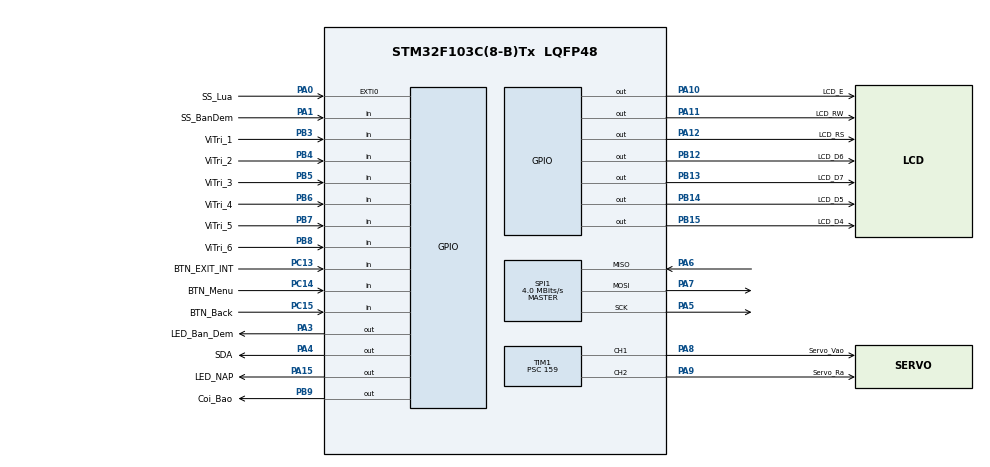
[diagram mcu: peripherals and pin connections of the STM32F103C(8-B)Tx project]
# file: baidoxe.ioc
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Mcu.Family=STM32F1
Mcu.Name=STM32F103C(8-B)Tx
Mcu.Package=LQFP48
NVIC.EXTI0_IRQn=true\:1\:0\:true\:false\:true\:true\:true\:true
NVIC.PriorityGroup=NVIC_PRIORITYGROUP_4
PA0-WKUP.GPIO_Label=SS_Lua
PA0-WKUP.GPIO_ModeDefaultEXTI=GPIO_MODE_IT_FALLING
PA0-WKUP.GPIO_PuPd=GPIO_NOPULL
PA0-WKUP.Signal=GPXTI0
PA1.GPIO_Label=SS_BanDem
PA1.Signal=GPIO_Input
PA10.GPIO_Label=LCD_E
PA10.Signal=GPIO_Output
PA11.GPIO_Label=LCD_RW
PA11.Signal=GPIO_Output
PA12.GPIO_Label=LCD_RS
PA12.Signal=GPIO_Output
PA13.Mode=Serial_Wire
PA13.Signal=SYS_JTMS-SWDIO
PA14.Mode=Serial_Wire
PA14.Signal=SYS_JTCK-SWCLK
PA15.GPIO_Label=LED_NAP
PA15.Signal=GPIO_Output
PA3.GPIO_Label=LED_Ban_Dem
PA3.Signal=GPIO_Output
PA4.GPIO_Label=SDA
PA4.Signal=GPIO_Output
PA5.Mode=Full_Duplex_Master
PA5.Signal=SPI1_SCK
PA6.Mode=Full_Duplex_Master
PA6.Signal=SPI1_MISO
PA7.Mode=Full_Duplex_Master
PA7.Signal=SPI1_MOSI
PA8.GPIO_Label=Servo_Vao
PA8.Signal=S_TIM1_CH1
PA9.GPIO_Label=Servo_Ra
PA9.Signal=S_TIM1_CH2
PB12.GPIO_Label=LCD_D6
PB12.Signal=GPIO_Output
PB13.GPIO_Label=LCD_D7
PB13.Signal=GPIO_Output
PB14.GPIO_Label=LCD_D5
PB14.Signal=GPIO_Output
PB15.GPIO_Label=LCD_D4
PB15.Signal=GPIO_Output
PB3.GPIO_Label=ViTri_1
PB3.Signal=GPIO_Input
PB4.GPIO_Label=ViTri_2
PB4.Signal=GPIO_Input
PB5.GPIO_Label=ViTri_3
PB5.Signal=GPIO_Input
PB6.GPIO_Label=ViTri_4
PB6.Signal=GPIO_Input
PB7.GPIO_Label=ViTri_5
PB7.Signal=GPIO_Input
PB8.GPIO_Label=ViTri_6
PB8.Signal=GPIO_Input
PB9.GPIO_Label=Coi_Bao
PB9.Signal=GPIO_Output
PC13-TAMPER-RTC.GPIO_Label=BTN_EXIT_INT
PC13-TAMPER-RTC.Signal=GPIO_Input
PC14-OSC32_IN.GPIO_Label=BTN_Menu
PC14-OSC32_IN.Signal=GPIO_Input
PC15-OSC32_OUT.GPIO_Label=BTN_Back
PC15-OSC32_OUT.Signal=GPIO_Input
PD0-OSC_IN.Mode=HSE-External-Oscillator
PD0-OSC_IN.Signal=RCC_OSC_IN
PD1-OSC_OUT.Mode=HSE-External-Oscillator
PD1-OSC_OUT.Signal=RCC_OSC_OUT
ProjectManager.HeapSize=0x200
ProjectManager.StackSize=0x400
ProjectManager.TargetToolchain=MDK-ARM V5.32
RCC.APB1Freq_Value=8000000
RCC.APB2Freq_Value=8000000
SH.S_TIM1_CH1.0=TIM1_CH1,PWM Generation1 CH1
SH.S_TIM1_CH2.0=TIM1_CH2,PWM Generation2 CH2
SPI1.CalculateBaudRate=4.0 MBits/s
SPI1.Direction=SPI_DIRECTION_2LINES
SPI1.Mode=SPI_MODE_MASTER
SPI1.VirtualType=VM_MASTER
TIM1.Channel-PWM\ Generation1\ CH1=TIM_CHANNEL_1
TIM1.Channel-PWM\ Generation2\ CH2=TIM_CHANNEL_2
TIM1.Period=999
TIM1.Prescaler=159
VP_TIM1_VS_ClockSourceINT.Mode=Internal
board=custom

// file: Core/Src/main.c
/* USER CODE BEGIN Header */
/**
  ******************************************************************************
  * @file           : main.c
  * @brief          : Main program body
  ******************************************************************************
  * @attention
  *
  * Copyright (c) 2024 STMicroelectronics.
  * All rights reserved.
  *
  * This software is licensed under terms that can be found in the LICENSE file
  * in the root directory of this software component.
  * If no LICENSE file comes with this software, it is provided AS-IS.
  *
  ******************************************************************************
  */
/* USER CODE END Header */
#include "main.h"

/* USER CODE BEGIN Includes */
#include "stdio.h"
#include "math.h"
#include "rc522.h"
#include "string.h"
#include "flash.h"

#define BLOCK_ADDR 0x04
#define MAX_VITRI 6
/* USER CODE END Includes */

SPI_HandleTypeDef hspi1;

TIM_HandleTypeDef htim1;

void SystemClock_Config(void);
static void MX_GPIO_Init(void);
static void MX_SPI1_Init(void);
static void MX_TIM1_Init(void);

/* USER CODE BEGIN 0 */

void Lcd_Cauhinh(void);
void Lcd_Ghi_Lenh(char lenh);
void Lcd_Ghi_Dulieu(char data);
void Lcd_Ghi_Lenh (char malenh);
void Lcd_Ghi_chuoi (char *str);

void Lcd_Ghi_Lenh (char malenh)
{
 HAL_GPIO_WritePin(GPIOA,GPIO_PIN_11,GPIO_PIN_RESET);
 HAL_GPIO_WritePin(GPIOA,GPIO_PIN_12,GPIO_PIN_RESET);

 HAL_GPIO_WritePin(GPIOA,GPIO_PIN_10,GPIO_PIN_SET);
 HAL_GPIO_WritePin(GPIOB,GPIO_PIN_15, (malenh>>4)&0x01);
 HAL_GPIO_WritePin(GPIOB,GPIO_PIN_14, (malenh>>5)&0x01);
 HAL_GPIO_WritePin(GPIOB,GPIO_PIN_12, (malenh>>6)&0x01);
 HAL_GPIO_WritePin(GPIOB,GPIO_PIN_13, (malenh>>7)&0x01);
 HAL_GPIO_WritePin(GPIOA,GPIO_PIN_10,GPIO_PIN_RESET);
 HAL_Delay(5);

 HAL_GPIO_WritePin(GPIOA,GPIO_PIN_10,GPIO_PIN_SET);
 HAL_GPIO_WritePin(GPIOB,GPIO_PIN_15, (malenh&0x01));
 HAL_GPIO_WritePin(GPIOB,GPIO_PIN_14, (malenh>>1)&0x01);
 HAL_GPIO_WritePin(GPIOB,GPIO_PIN_12, (malenh>>2)&0x01);
 HAL_GPIO_WritePin(GPIOB,GPIO_PIN_13, (malenh>>3)&0x01);
 HAL_GPIO_WritePin(GPIOA,GPIO_PIN_10,GPIO_PIN_RESET);
 HAL_Delay(5);
}

void Lcd_Ghi_Dulieu (char dulieu)
{
 HAL_GPIO_WritePin(GPIOA,GPIO_PIN_11,GPIO_PIN_RESET);
 HAL_GPIO_WritePin(GPIOA,GPIO_PIN_12,GPIO_PIN_SET);

 HAL_GPIO_WritePin(GPIOA,GPIO_PIN_10,GPIO_PIN_SET);
 HAL_GPIO_WritePin(GPIOB,GPIO_PIN_15, (dulieu>>4)&0x01);
 HAL_GPIO_WritePin(GPIOB,GPIO_PIN_14, (dulieu>>5)&0x01);
 HAL_GPIO_WritePin(GPIOB,GPIO_PIN_12, (dulieu>>6)&0x01);
 HAL_GPIO_WritePin(GPIOB,GPIO_PIN_13, (dulieu>>7)&0x01);
 HAL_GPIO_WritePin(GPIOA,GPIO_PIN_10,GPIO_PIN_RESET);
 HAL_Delay(5);

 HAL_GPIO_WritePin(GPIOA,GPIO_PIN_10,GPIO_PIN_SET);
 HAL_GPIO_WritePin(GPIOB,GPIO_PIN_15, (dulieu&0x01));
 HAL_GPIO_WritePin(GPIOB,GPIO_PIN_14, (dulieu>>1)&0x01);
 HAL_GPIO_WritePin(GPIOB,GPIO_PIN_12, (dulieu>>2)&0x01);
 HAL_GPIO_WritePin(GPIOB,GPIO_PIN_13, (dulieu>>3)&0x01);
 HAL_GPIO_WritePin(GPIOA,GPIO_PIN_10,GPIO_PIN_RESET);
 HAL_Delay(5);
}

void Lcd_Ghi_chuoi (char *str)
{
 while(*str)
 {
 Lcd_Ghi_Dulieu(*str);
 str++;
 }
}

void Lcd_Cauhinh (void)
{
 Lcd_Ghi_Lenh(0x03);
 Lcd_Ghi_Lenh(0x02);
 Lcd_Ghi_Lenh(0x28);
 Lcd_Ghi_Lenh(0x06);
 Lcd_Ghi_Lenh(0x0c);
 Lcd_Ghi_Lenh(0x01);
}

int i = 0;
uint8_t strID[4];
uint8_t checkMasterID[4];
uint8_t checkSlaveID[4];
uint8_t IDmaster[4] = {0xD3, 0x5C, 0xC2, 0x36};
int countvitri = MAX_VITRI;

/*#pragma pack(1)
typedef struct{
		uint8_t UID[4];
		uint8_t checkMaster;
		uint8_t checkInOut;
	} RFID;
#pragma pack()*/

RFID* cardID_Database = NULL;

uint8_t countofcardID = 0;

void addCardID(uint8_t uid[4], uint8_t checkMaster, uint8_t checkInOut){
	RFID newcard;
	memcpy(newcard.UID, uid, sizeof(newcard.UID));
	newcard.checkMaster = checkMaster;
	newcard.checkInOut = checkInOut;

	cardID_Database = realloc(cardID_Database, (countofcardID + 1)*sizeof(RFID));

	if(cardID_Database == NULL){
			Lcd_Ghi_Lenh(0x01);
			Lcd_Ghi_Lenh(0x80);
			Lcd_Ghi_chuoi("Bo nho day");
			HAL_Delay(2000);
			exit(EXIT_FAILURE);
		}
	cardID_Database[countofcardID] = newcard;
	countofcardID ++;
		if(checkMaster == 0){
				Lcd_Ghi_Lenh(0x01);
				Lcd_Ghi_Lenh(0x80);
				Lcd_Ghi_chuoi("Them Thanh Cong");
				HAL_Delay(2000);
			}
	}

int compareCardID(uint8_t uid[4]){
				for(i = 0; i < countofcardID; i++){
					if(memcmp(uid, cardID_Database[i].UID, sizeof(cardID_Database[i].UID)) == 0){
						return i;
					}
				}
				return -1;
	}

void freeMemory(){
	free(cardID_Database);
	}

void themID();
void xoaID();
void resetID();

int checkmaster(){
		if (!MFRC522_Request(PICC_REQIDL, checkMasterID)) {
			if (!MFRC522_Anticoll(checkMasterID)) {
				if(compareCardID(checkMasterID) == 0){
						return 1;
					}
				}
			}
		return 0;
	}

void menuthem(){
			Lcd_Ghi_Lenh(0x01);
			Lcd_Ghi_Lenh(0x80);
			Lcd_Ghi_chuoi("> 1. Them ID");
			Lcd_Ghi_Lenh(0xC0);
			Lcd_Ghi_chuoi("2. Xoa ID");
			HAL_Delay(1000);
	}

	void menuxoa(){
			Lcd_Ghi_Lenh(0x01);
			Lcd_Ghi_Lenh(0x80);
			Lcd_Ghi_chuoi("1. Them ID");
			Lcd_Ghi_Lenh(0xC0);
			Lcd_Ghi_chuoi("> 2. Xoa ID");
			HAL_Delay(1000);
	}

	void menureset(){
			Lcd_Ghi_Lenh(0x01);
			Lcd_Ghi_Lenh(0x80);
			Lcd_Ghi_chuoi("> 3. Reset ID");
			Lcd_Ghi_Lenh(0xC0);
			Lcd_Ghi_chuoi("4. Thoat");
			HAL_Delay(1000);
	}

	void menuthoat(){
			Lcd_Ghi_Lenh(0x01);
			Lcd_Ghi_Lenh(0x80);
			Lcd_Ghi_chuoi("3. Reset ID");
			Lcd_Ghi_Lenh(0xC0);
			Lcd_Ghi_chuoi("> 4. Thoat");
			HAL_Delay(1000);
	}

	void xoatempID(uint8_t *ID){
			ID = NULL;
		}

void menu(){
		xoatempID(strID);
		xoatempID(checkMasterID);
		Lcd_Ghi_Lenh(0x01);
		Lcd_Ghi_Lenh(0x80);
		Lcd_Ghi_chuoi("MENU HE THONG");
		HAL_Delay(2000);

		int btnlen = 1;
		while(1){
			if(HAL_GPIO_ReadPin(GPIOC, GPIO_PIN_14) == 0){
				while(HAL_GPIO_ReadPin(GPIOC, GPIO_PIN_14) == 0);
				btnlen++;
			}

			if(btnlen == 1){
				menuthem();
				if(checkmaster()){
						xoatempID(checkMasterID);
						themID();
						btnlen = 1;
					}
				}
			else if(btnlen == 2){
				menuxoa();
				if(checkmaster()){
						xoatempID(checkMasterID);
						xoaID();
						btnlen = 1;
					}
				}
			else if(btnlen == 3){
				menureset();
				if(checkmaster()){
						xoatempID(checkMasterID);
						resetID();
						btnlen = 1;
					}
				}
			else if(btnlen == 4){
				menuthoat();
				if(checkmaster()){
						break;
					}
				}
			else if(btnlen > 4){
				btnlen = 1;
				}
		}
	}

	void themID(){
		while(1){
				Lcd_Ghi_Lenh(0x01);
				Lcd_Ghi_Lenh(0x80);
				Lcd_Ghi_chuoi("Moi nhap the");
				HAL_Delay(500);
				if (!MFRC522_Request(PICC_REQIDL, strID)) {
					if (!MFRC522_Anticoll(strID)) {
						if(compareCardID(strID) == 0){
								Lcd_Ghi_Lenh(0x01);
								Lcd_Ghi_Lenh(0x80);
								Lcd_Ghi_chuoi("Ton tai the");
								HAL_Delay(1000);
							}
						else if(compareCardID(strID) == -1){
								addCardID(strID, 0, 0);
							}
						else{
								Lcd_Ghi_Lenh(0x01);
								Lcd_Ghi_Lenh(0x80);
								Lcd_Ghi_chuoi("Ton tai the");
								HAL_Delay(1000);
							}
					}
				}

			if(HAL_GPIO_ReadPin(GPIOC, GPIO_PIN_15) == 0){
					break;
				}
			}
	}

	void xoaID(){
		while(1){
			Lcd_Ghi_Lenh(0x01);
			Lcd_Ghi_Lenh(0x80);
			Lcd_Ghi_chuoi("Moi nhap the");
			HAL_Delay(500);

			if (!MFRC522_Request(PICC_REQIDL, strID)) {
				if (!MFRC522_Anticoll(strID)) {
					int temp = compareCardID(strID);
					if( temp == 0){
							Lcd_Ghi_Lenh(0x01);
							Lcd_Ghi_Lenh(0x80);
							Lcd_Ghi_chuoi("Khong the xoa");
							Lcd_Ghi_Lenh(0xC0);
							Lcd_Ghi_chuoi("ID MASTER");
							HAL_Delay(1000);
						}
					else if(temp == -1){
								Lcd_Ghi_Lenh(0x01);
								Lcd_Ghi_Lenh(0x80);
								Lcd_Ghi_chuoi("Khong ton tai");
								HAL_Delay(1000);;
						}
					else{
						if(cardID_Database[temp].checkInOut == 1){
								cardID_Database[temp].checkInOut = 0;
								countvitri++;
								Lcd_Ghi_Lenh(0x01);
								Lcd_Ghi_Lenh(0x80);
								Lcd_Ghi_chuoi("--  Moi Xe Ra --");
								__HAL_TIM_SetCompare(&htim1, TIM_CHANNEL_2, 100);
								HAL_Delay(2000);
								__HAL_TIM_SetCompare(&htim1, TIM_CHANNEL_2, 50);
							}
						for(i = temp; i < countofcardID; i++){
								cardID_Database[i] = cardID_Database[i+1];
							}

						cardID_Database = realloc(cardID_Database, (countofcardID - 1)*sizeof(RFID));
						if(cardID_Database == NULL){
									Lcd_Ghi_Lenh(0x01);
									Lcd_Ghi_Lenh(0x80);
									Lcd_Ghi_chuoi("Bo nho day");
									HAL_Delay(2000);
									exit(EXIT_FAILURE);
							}
						countofcardID--;
						Lcd_Ghi_Lenh(0x01);
						Lcd_Ghi_Lenh(0x80);
						Lcd_Ghi_chuoi("Xoa Thanh Cong");
						HAL_Delay(2000);
					}
				}
			}

			if(HAL_GPIO_ReadPin(GPIOC, GPIO_PIN_15) == 0){
					break;
				}
		}
	}

	void resetID(){
    if (countofcardID >= 2) {
        freeMemory();
				cardID_Database = NULL;
				countofcardID = 0;
				for(i = 0; i < sizeof(cardID_Database); i++){
						cardID_Database[i].checkInOut = 0;
					}

				countvitri = MAX_VITRI;
				Lcd_Ghi_Lenh(0x01);
				Lcd_Ghi_Lenh(0x80);
				Lcd_Ghi_chuoi("--  Moi Xe Ra --");
				__HAL_TIM_SetCompare(&htim1, TIM_CHANNEL_2, 100);
				HAL_Delay(5000);
				__HAL_TIM_SetCompare(&htim1, TIM_CHANNEL_2, 50);

				addCardID(IDmaster, 1, 0);

        Lcd_Ghi_Lenh(0x01);
        Lcd_Ghi_Lenh(0x80);
        Lcd_Ghi_chuoi("Xoa toan bo ID");
				Lcd_Ghi_Lenh(0xC0);
        Lcd_Ghi_chuoi("Thanh Cong");
        HAL_Delay(2000);
    } else {
        Lcd_Ghi_Lenh(0x01);
        Lcd_Ghi_Lenh(0x80);
        Lcd_Ghi_chuoi("Khong thanh cong");
        HAL_Delay(2000);
    }
	}

	char arrvitri[MAX_VITRI];
	char lcdvitri[32];
	uint16_t arrportpinx[] = {GPIO_PIN_3, GPIO_PIN_4, GPIO_PIN_5, GPIO_PIN_6, GPIO_PIN_7, GPIO_PIN_8};

	void manhinhvitri(){
		Lcd_Ghi_Lenh(0X80);
		Lcd_Ghi_chuoi("VTRI:1 2 3 4 5 6");
		sprintf(lcdvitri, " [%d] %c %c %c %c %c %c", countvitri, arrvitri[0], arrvitri[1], arrvitri[2], arrvitri[3], arrvitri[4], arrvitri[5]);
		Lcd_Ghi_Lenh(0xC0);
		Lcd_Ghi_chuoi(lcdvitri);
		}

	void docvitri(){
		for(i = 0; i < sizeof(arrportpinx); i++){
				if(HAL_GPIO_ReadPin(GPIOB, arrportpinx[i]) == 0){
					 arrvitri[i] = 'X';
					}
				else{
					arrvitri[i] = '0';
					}
				}
		manhinhvitri();
		}

/* USER CODE END 0 */

int main(void)
{

  /* MCU Configuration--------------------------------------------------------*/

  /* Reset of all peripherals, Initializes the Flash interface and the Systick. */
  HAL_Init();

  /* Configure the system clock */
  SystemClock_Config();

  /* Initialize all configured peripherals */
  MX_GPIO_Init();
  MX_SPI1_Init();
  MX_TIM1_Init();
  /* USER CODE BEGIN 2 */
	MFRC522_Init();
	Lcd_Cauhinh();

	for(int i = 0; i < 3; i++){
		HAL_GPIO_WritePin(GPIOA, GPIO_PIN_15, 1);
		HAL_Delay(500);
		HAL_GPIO_WritePin(GPIOA, GPIO_PIN_15, 0);
		HAL_Delay(500);
	}
	HAL_GPIO_WritePin(GPIOA, GPIO_PIN_15, 1);
	HAL_Delay(2000);
	flash_erase(ADDRESS_DATA_STORAGE);
	//flash_read_Rfid(ADDRESS_DATA_STORAGE, cardID_Database);

	addCardID(IDmaster, 1, 0);

	Lcd_Ghi_Lenh(0x01);
	Lcd_Ghi_Lenh(0X80);
	Lcd_Ghi_chuoi("--- XIN CHAO ---");
	Lcd_Ghi_Lenh(0XC0);
	Lcd_Ghi_chuoi("---  MASTER  ---");
	HAL_Delay(5000);

	Lcd_Ghi_Lenh(0x01);
	Lcd_Ghi_Lenh(0X80);
	Lcd_Ghi_chuoi("--- XIN CHAO ---");
	Lcd_Ghi_Lenh(0XC0);
	Lcd_Ghi_chuoi("--- QUY KHACH --");
	HAL_Delay(5000);

	HAL_TIM_PWM_Start(&htim1, TIM_CHANNEL_1);
	HAL_TIM_PWM_Start(&htim1, TIM_CHANNEL_2);

	__HAL_TIM_SetCompare(&htim1, TIM_CHANNEL_1, 50);
	__HAL_TIM_SetCompare(&htim1, TIM_CHANNEL_2, 50);

  /* USER CODE END 2 */

  /* Infinite loop */
  /* USER CODE BEGIN WHILE */
  while (1)
  {
		//flash_erase(ADDRESS_DATA_STORAGE);
		//flash_write_Rfid(ADDRESS_DATA_STORAGE, cardID_Database);
		if(HAL_GPIO_ReadPin(GPIOA, GPIO_PIN_1) == 1){
				HAL_GPIO_WritePin(GPIOA, GPIO_PIN_3, 1);
			}
		else{
			HAL_GPIO_WritePin(GPIOA, GPIO_PIN_3, 0);
			}

		if (!MFRC522_Request(PICC_REQIDL, strID)) { //true neu gui yeu cau quet thanh cong
			if (!MFRC522_Anticoll(strID)) {
					int temp = compareCardID(strID);
					if(temp == 0){
							menu();
						}
					else if(temp == -1){
							Lcd_Ghi_Lenh(0x01);
							Lcd_Ghi_Lenh(0x80);
							Lcd_Ghi_chuoi("- KHONG TON TAI-");
							HAL_Delay(2000);
						}
					else{
							if(cardID_Database[temp].checkInOut == 0 && countvitri > 0){
									countvitri--;
									if(countvitri <= 0) countvitri = 0;
									Lcd_Ghi_Lenh(0x01);
									Lcd_Ghi_Lenh(0x80);
									Lcd_Ghi_chuoi("-- Moi Xe Vao --");
									__HAL_TIM_SetCompare(&htim1, TIM_CHANNEL_1, 100);
									HAL_Delay(5000);
									cardID_Database[temp].checkInOut = 1;
									__HAL_TIM_SetCompare(&htim1, TIM_CHANNEL_1, 50);

								}
							else if(cardID_Database[temp].checkInOut == 1 && countvitri < MAX_VITRI){
									countvitri++;
									if(countvitri >= MAX_VITRI) countvitri = MAX_VITRI;
									Lcd_Ghi_Lenh(0x01);
									Lcd_Ghi_Lenh(0x80);
									Lcd_Ghi_chuoi("--  Moi Xe Ra --");
									flash_write_Rfid(ADDRESS_DATA_STORAGE, cardID_Database);
									__HAL_TIM_SetCompare(&htim1, TIM_CHANNEL_2, 100);
									HAL_Delay(5000);
									cardID_Database[temp].checkInOut = 0;
									__HAL_TIM_SetCompare(&htim1, TIM_CHANNEL_2, 50);
								}
						}
					}
				}

		if(countvitri == 0){
				Lcd_Ghi_Lenh(0x01);
				Lcd_Ghi_Lenh(0X80);
				Lcd_Ghi_chuoi("--- HE THONG ---");
				Lcd_Ghi_Lenh(0XC0);
				Lcd_Ghi_chuoi("---- HET CHO ---");
				HAL_Delay(500);
			}
		else{
			docvitri();
			}
    /* USER CODE END WHILE */

    /* USER CODE BEGIN 3 */
  }
	freeMemory();
  /* USER CODE END 3 */
}

void SystemClock_Config(void)
{
  RCC_OscInitTypeDef RCC_OscInitStruct = {0};
  RCC_ClkInitTypeDef RCC_ClkInitStruct = {0};

  /** Initializes the RCC Oscillators according to the specified parameters
  * in the RCC_OscInitTypeDef structure.
  */
  RCC_OscInitStruct.OscillatorType = RCC_OSCILLATORTYPE_HSI;
  RCC_OscInitStruct.HSIState = RCC_HSI_ON;
  RCC_OscInitStruct.HSICalibrationValue = RCC_HSICALIBRATION_DEFAULT;
  RCC_OscInitStruct.PLL.PLLState = RCC_PLL_NONE;
  if (HAL_RCC_OscConfig(&RCC_OscInitStruct) != HAL_OK)
  {
    Error_Handler();
  }

  /** Initializes the CPU, AHB and APB buses clocks
  */
  RCC_ClkInitStruct.ClockType = RCC_CLOCKTYPE_HCLK|RCC_CLOCKTYPE_SYSCLK
                              |RCC_CLOCKTYPE_PCLK1|RCC_CLOCKTYPE_PCLK2;
  RCC_ClkInitStruct.SYSCLKSource = RCC_SYSCLKSOURCE_HSI;
  RCC_ClkInitStruct.AHBCLKDivider = RCC_SYSCLK_DIV1;
  RCC_ClkInitStruct.APB1CLKDivider = RCC_HCLK_DIV1;
  RCC_ClkInitStruct.APB2CLKDivider = RCC_HCLK_DIV1;

  if (HAL_RCC_ClockConfig(&RCC_ClkInitStruct, FLASH_LATENCY_0) != HAL_OK)
  {
    Error_Handler();
  }
}

static void MX_SPI1_Init(void)
{

  /* SPI1 parameter configuration*/
  hspi1.Instance = SPI1;
  hspi1.Init.Mode = SPI_MODE_MASTER;
  hspi1.Init.Direction = SPI_DIRECTION_2LINES;
  hspi1.Init.DataSize = SPI_DATASIZE_8BIT;
  hspi1.Init.CLKPolarity = SPI_POLARITY_LOW;
  hspi1.Init.CLKPhase = SPI_PHASE_1EDGE;
  hspi1.Init.NSS = SPI_NSS_SOFT;
  hspi1.Init.BaudRatePrescaler = SPI_BAUDRATEPRESCALER_2;
  hspi1.Init.FirstBit = SPI_FIRSTBIT_MSB;
  hspi1.Init.TIMode = SPI_TIMODE_DISABLE;
  hspi1.Init.CRCCalculation = SPI_CRCCALCULATION_DISABLE;
  hspi1.Init.CRCPolynomial = 10;
  if (HAL_SPI_Init(&hspi1) != HAL_OK)
  {
    Error_Handler();
  }

}

static void MX_TIM1_Init(void)
{

  TIM_ClockConfigTypeDef sClockSourceConfig = {0};
  TIM_MasterConfigTypeDef sMasterConfig = {0};
  TIM_OC_InitTypeDef sConfigOC = {0};
  TIM_BreakDeadTimeConfigTypeDef sBreakDeadTimeConfig = {0};

  htim1.Instance = TIM1;
  htim1.Init.Prescaler = 159;
  htim1.Init.CounterMode = TIM_COUNTERMODE_UP;
  htim1.Init.Period = 999;
  htim1.Init.ClockDivision = TIM_CLOCKDIVISION_DIV1;
  htim1.Init.RepetitionCounter = 0;
  htim1.Init.AutoReloadPreload = TIM_AUTORELOAD_PRELOAD_DISABLE;
  if (HAL_TIM_Base_Init(&htim1) != HAL_OK)
  {
    Error_Handler();
  }
  sClockSourceConfig.ClockSource = TIM_CLOCKSOURCE_INTERNAL;
  if (HAL_TIM_ConfigClockSource(&htim1, &sClockSourceConfig) != HAL_OK)
  {
    Error_Handler();
  }
  if (HAL_TIM_PWM_Init(&htim1) != HAL_OK)
  {
    Error_Handler();
  }
  sMasterConfig.MasterOutputTrigger = TIM_TRGO_RESET;
  sMasterConfig.MasterSlaveMode = TIM_MASTERSLAVEMODE_DISABLE;
  if (HAL_TIMEx_MasterConfigSynchronization(&htim1, &sMasterConfig) != HAL_OK)
  {
    Error_Handler();
  }
  sConfigOC.OCMode = TIM_OCMODE_PWM1;
  sConfigOC.Pulse = 0;
  sConfigOC.OCPolarity = TIM_OCPOLARITY_HIGH;
  sConfigOC.OCNPolarity = TIM_OCNPOLARITY_HIGH;
  sConfigOC.OCFastMode = TIM_OCFAST_DISABLE;
  sConfigOC.OCIdleState = TIM_OCIDLESTATE_RESET;
  sConfigOC.OCNIdleState = TIM_OCNIDLESTATE_RESET;
  if (HAL_TIM_PWM_ConfigChannel(&htim1, &sConfigOC, TIM_CHANNEL_1) != HAL_OK)
  {
    Error_Handler();
  }
  if (HAL_TIM_PWM_ConfigChannel(&htim1, &sConfigOC, TIM_CHANNEL_2) != HAL_OK)
  {
    Error_Handler();
  }
  sBreakDeadTimeConfig.OffStateRunMode = TIM_OSSR_DISABLE;
  sBreakDeadTimeConfig.OffStateIDLEMode = TIM_OSSI_DISABLE;
  sBreakDeadTimeConfig.LockLevel = TIM_LOCKLEVEL_OFF;
  sBreakDeadTimeConfig.DeadTime = 0;
  sBreakDeadTimeConfig.BreakState = TIM_BREAK_DISABLE;
  sBreakDeadTimeConfig.BreakPolarity = TIM_BREAKPOLARITY_HIGH;
  sBreakDeadTimeConfig.AutomaticOutput = TIM_AUTOMATICOUTPUT_DISABLE;
  if (HAL_TIMEx_ConfigBreakDeadTime(&htim1, &sBreakDeadTimeConfig) != HAL_OK)
  {
    Error_Handler();
  }
  HAL_TIM_MspPostInit(&htim1);

}

static void MX_GPIO_Init(void)
{
  GPIO_InitTypeDef GPIO_InitStruct = {0};

  /* GPIO Ports Clock Enable */
  __HAL_RCC_GPIOC_CLK_ENABLE();
  __HAL_RCC_GPIOD_CLK_ENABLE();
  __HAL_RCC_GPIOA_CLK_ENABLE();
  __HAL_RCC_GPIOB_CLK_ENABLE();

  /*Configure GPIO pin Output Level */
  HAL_GPIO_WritePin(GPIOA, LED_Ban_Dem_Pin|SDA_Pin|LCD_E_Pin|LCD_RW_Pin
                          |LCD_RS_Pin|LED_NAP_Pin, GPIO_PIN_RESET);

  /*Configure GPIO pin Output Level */
  HAL_GPIO_WritePin(GPIOB, LCD_D6_Pin|LCD_D7_Pin|LCD_D5_Pin|LCD_D4_Pin
                          |Coi_Bao_Pin, GPIO_PIN_RESET);

  /*Configure GPIO pins : BTN_EXIT_INT_Pin BTN_Menu_Pin BTN_Back_Pin */
  GPIO_InitStruct.Pin = BTN_EXIT_INT_Pin|BTN_Menu_Pin|BTN_Back_Pin;
  GPIO_InitStruct.Mode = GPIO_MODE_INPUT;
  GPIO_InitStruct.Pull = GPIO_NOPULL;
  HAL_GPIO_Init(GPIOC, &GPIO_InitStruct);

  /*Configure GPIO pin : SS_Lua_Pin */
  GPIO_InitStruct.Pin = SS_Lua_Pin;
  GPIO_InitStruct.Mode = GPIO_MODE_IT_FALLING;
  GPIO_InitStruct.Pull = GPIO_NOPULL;
  HAL_GPIO_Init(SS_Lua_GPIO_Port, &GPIO_InitStruct);

  /*Configure GPIO pin : SS_BanDem_Pin */
  GPIO_InitStruct.Pin = SS_BanDem_Pin;
  GPIO_InitStruct.Mode = GPIO_MODE_INPUT;
  GPIO_InitStruct.Pull = GPIO_NOPULL;
  HAL_GPIO_Init(SS_BanDem_GPIO_Port, &GPIO_InitStruct);

  /*Configure GPIO pins : LED_Ban_Dem_Pin SDA_Pin LCD_E_Pin LCD_RW_Pin
                           LCD_RS_Pin LED_NAP_Pin */
  GPIO_InitStruct.Pin = LED_Ban_Dem_Pin|SDA_Pin|LCD_E_Pin|LCD_RW_Pin
                          |LCD_RS_Pin|LED_NAP_Pin;
  GPIO_InitStruct.Mode = GPIO_MODE_OUTPUT_PP;
  GPIO_InitStruct.Pull = GPIO_NOPULL;
  GPIO_InitStruct.Speed = GPIO_SPEED_FREQ_LOW;
  HAL_GPIO_Init(GPIOA, &GPIO_InitStruct);

  /*Configure GPIO pins : LCD_D6_Pin LCD_D7_Pin LCD_D5_Pin LCD_D4_Pin
                           Coi_Bao_Pin */
  GPIO_InitStruct.Pin = LCD_D6_Pin|LCD_D7_Pin|LCD_D5_Pin|LCD_D4_Pin
                          |Coi_Bao_Pin;
  GPIO_InitStruct.Mode = GPIO_MODE_OUTPUT_PP;
  GPIO_InitStruct.Pull = GPIO_NOPULL;
  GPIO_InitStruct.Speed = GPIO_SPEED_FREQ_LOW;
  HAL_GPIO_Init(GPIOB, &GPIO_InitStruct);

  /*Configure GPIO pins : ViTri_1_Pin ViTri_2_Pin ViTri_3_Pin ViTri_4_Pin
                           ViTri_5_Pin ViTri_6_Pin */
  GPIO_InitStruct.Pin = ViTri_1_Pin|ViTri_2_Pin|ViTri_3_Pin|ViTri_4_Pin
                          |ViTri_5_Pin|ViTri_6_Pin;
  GPIO_InitStruct.Mode = GPIO_MODE_INPUT;
  GPIO_InitStruct.Pull = GPIO_NOPULL;
  HAL_GPIO_Init(GPIOB, &GPIO_InitStruct);

  /* EXTI interrupt init*/
  HAL_NVIC_SetPriority(EXTI0_IRQn, 1, 0);
  HAL_NVIC_EnableIRQ(EXTI0_IRQn);

}

void Error_Handler(void)
{
  __disable_irq();
  while (1)
  {
  }
}
